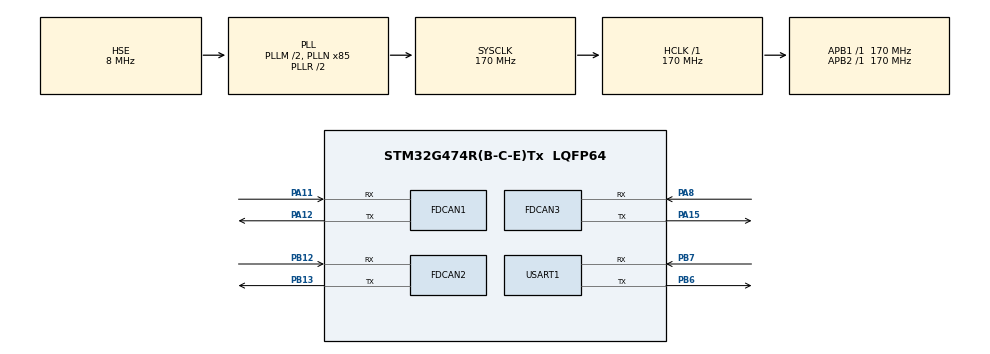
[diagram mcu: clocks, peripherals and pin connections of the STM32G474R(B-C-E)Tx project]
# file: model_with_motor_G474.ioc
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Dma.Request0=USART1_RX
Dma.USART1_RX.0.Direction=DMA_PERIPH_TO_MEMORY
Dma.USART1_RX.0.EventEnable=DISABLE
Dma.USART1_RX.0.Instance=DMA1_Channel1
Dma.USART1_RX.0.MemDataAlignment=DMA_MDATAALIGN_BYTE
Dma.USART1_RX.0.MemInc=DMA_MINC_ENABLE
Dma.USART1_RX.0.Mode=DMA_NORMAL
Dma.USART1_RX.0.PeriphDataAlignment=DMA_PDATAALIGN_BYTE
Dma.USART1_RX.0.PeriphInc=DMA_PINC_DISABLE
Dma.USART1_RX.0.Polarity=HAL_DMAMUX_REQ_GEN_RISING
Dma.USART1_RX.0.Priority=DMA_PRIORITY_LOW
Dma.USART1_RX.0.RequestNumber=1
Dma.USART1_RX.0.SignalID=NONE
Dma.USART1_RX.0.SyncEnable=DISABLE
Dma.USART1_RX.0.SyncPolarity=HAL_DMAMUX_SYNC_NO_EVENT
Dma.USART1_RX.0.SyncRequestNumber=1
Dma.USART1_RX.0.SyncSignalID=NONE
FDCAN1.CalculateBaudRateNominal=1000000
FDCAN1.CalculateTimeBitNominal=1000
FDCAN1.CalculateTimeQuantumNominal=100.0
FDCAN1.DataPrescaler=17
FDCAN1.DataTimeSeg1=7
FDCAN1.DataTimeSeg2=2
FDCAN1.ExtFiltersNbr=1
FDCAN1.NominalPrescaler=17
FDCAN1.NominalTimeSeg1=7
FDCAN1.NominalTimeSeg2=2
FDCAN1.StdFiltersNbr=1
FDCAN2.CalculateBaudRateNominal=1000000
FDCAN2.CalculateTimeBitNominal=1000
FDCAN2.CalculateTimeQuantumNominal=100.0
FDCAN2.DataPrescaler=17
FDCAN2.DataTimeSeg1=7
FDCAN2.DataTimeSeg2=2
FDCAN2.ExtFiltersNbr=1
FDCAN2.Mode=FDCAN_MODE_NORMAL
FDCAN2.NominalPrescaler=17
FDCAN2.NominalTimeSeg1=7
FDCAN2.NominalTimeSeg2=2
FDCAN2.StdFiltersNbr=1
FDCAN3.CalculateBaudRateNominal=1000000
FDCAN3.CalculateTimeBitNominal=1000
FDCAN3.CalculateTimeQuantumNominal=100.0
FDCAN3.DataPrescaler=17
FDCAN3.DataTimeSeg1=7
FDCAN3.DataTimeSeg2=2
FDCAN3.ExtFiltersNbr=1
FDCAN3.NominalPrescaler=17
FDCAN3.NominalTimeSeg1=7
FDCAN3.NominalTimeSeg2=2
FDCAN3.StdFiltersNbr=1
Mcu.Family=STM32G4
Mcu.Name=STM32G474R(B-C-E)Tx
Mcu.Package=LQFP64
NVIC.DMA1_Channel1_IRQn=true\:0\:0\:false\:false\:true\:false\:true\:true
NVIC.FDCAN1_IT0_IRQn=true\:0\:0\:false\:false\:true\:true\:true\:true
NVIC.FDCAN1_IT1_IRQn=true\:0\:0\:false\:false\:true\:true\:true\:true
NVIC.FDCAN2_IT0_IRQn=true\:0\:0\:false\:false\:true\:true\:true\:true
NVIC.FDCAN2_IT1_IRQn=true\:0\:0\:false\:false\:true\:true\:true\:true
NVIC.PriorityGroup=NVIC_PRIORITYGROUP_4
NVIC.USART1_IRQn=true\:0\:0\:false\:false\:true\:true\:true\:true
PA11.Mode=FDCAN_Activate
PA11.Signal=FDCAN1_RX
PA12.Mode=FDCAN_Activate
PA12.Signal=FDCAN1_TX
PA13.Mode=Serial_Wire
PA13.Signal=SYS_JTMS-SWDIO
PA14.Mode=Serial_Wire
PA14.Signal=SYS_JTCK-SWCLK
PA15.Mode=FDCAN_Activate
PA15.Signal=FDCAN3_TX
PA8.Mode=FDCAN_Activate
PA8.Signal=FDCAN3_RX
PB12.Mode=FDCAN_Activate
PB12.Signal=FDCAN2_RX
PB13.Mode=FDCAN_Activate
PB13.Signal=FDCAN2_TX
PB6.Mode=Asynchronous
PB6.Signal=USART1_TX
PB7.Mode=Asynchronous
PB7.Signal=USART1_RX
PC14-OSC32_IN.Mode=LSE-External-Oscillator
PC14-OSC32_IN.Signal=RCC_OSC32_IN
PC15-OSC32_OUT.Mode=LSE-External-Oscillator
PC15-OSC32_OUT.Signal=RCC_OSC32_OUT
PF0-OSC_IN.Mode=HSE-External-Oscillator
PF0-OSC_IN.Signal=RCC_OSC_IN
PF1-OSC_OUT.Mode=HSE-External-Oscillator
PF1-OSC_OUT.Signal=RCC_OSC_OUT
ProjectManager.HeapSize=0x200
ProjectManager.StackSize=0x400
ProjectManager.TargetToolchain=MDK-ARM V5.32
RCC.ADC12Freq_Value=170000000
RCC.ADC345Freq_Value=170000000
RCC.AHBFreq_Value=170000000
RCC.APB1Freq_Value=170000000
RCC.APB1TimFreq_Value=170000000
RCC.APB2Freq_Value=170000000
RCC.APB2TimFreq_Value=170000000
RCC.CortexFreq_Value=170000000
RCC.EXTERNAL_CLOCK_VALUE=12288000
RCC.HCLKFreq_Value=170000000
RCC.HSE_VALUE=8000000
RCC.HSI48_VALUE=48000000
RCC.HSI_VALUE=16000000
RCC.PLLM=RCC_PLLM_DIV2
RCC.PLLN=85
RCC.PLLSourceVirtual=RCC_PLLSOURCE_HSE
RCC.SYSCLKFreq_VALUE=170000000
RCC.SYSCLKSource=RCC_SYSCLKSOURCE_PLLCLK
RCC.USBFreq_Value=170000000
RCC.VCOOutputFreq_Value=340000000
USART1.VirtualMode-Asynchronous=VM_ASYNC
VP_SYS_VS_DBSignals.Mode=DisableDeadBatterySignals
board=custom

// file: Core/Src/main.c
/* USER CODE BEGIN Header */
/**
  ******************************************************************************
  * @file           : main.c
  * @brief          : Main program body
  ******************************************************************************
  * @attention
  *
  * Copyright (c) 2025 STMicroelectronics.
  * All rights reserved.
  *
  * This software is licensed under terms that can be found in the LICENSE file
  * in the root directory of this software component.
  * If no LICENSE file comes with this software, it is provided AS-IS.
  *
  ******************************************************************************
  */
/* USER CODE END Header */
#include "main.h"
#include "dma.h"
#include "fdcan.h"
#include "usart.h"
#include "gpio.h"

/* USER CODE BEGIN Includes */
#include "fdcan_bsp.h"
#include "dji_motor.h"
#include "cybergear_motor.h"
/* USER CODE END Includes */

void SystemClock_Config(void);

int main(void)
{

  /* MCU Configuration--------------------------------------------------------*/

  /* Reset of all peripherals, Initializes the Flash interface and the Systick. */
  HAL_Init();

  /* Configure the system clock */
  SystemClock_Config();

  /* Initialize all configured peripherals */
  MX_GPIO_Init();
  MX_DMA_Init();
  MX_USART1_UART_Init();
  MX_FDCAN1_Init();
  MX_FDCAN2_Init();
  MX_FDCAN3_Init();
  /* USER CODE BEGIN 2 */

	// 1. 初始化 FDCAN 分发器
	fdcan_bsp_init();

	// 2. 初始化电机
  dji_motors_init();
	cybergear_motors_init();

	// 3. 启动 FDCAN 外设
  fdcan_bsp_start(&hfdcan1);
	fdcan_bsp_start(&hfdcan2);

	static CyberGear_Motor_Instance *mi_motor = NULL;
	static DJI_Motor_Instance *dji_motor = NULL;
	mi_motor = cybergear_motor_get_instance(0);
  dji_motor = dji_motor_get_instance(4);

	cybergear_motor_stop(mi_motor);
	HAL_Delay(50);
	cybergear_motor_set_mode(mi_motor, MOTOR_CONTROL_MODE_POSITION);
	HAL_Delay(50);
	//cybergear_motor_set_current_limit(mi_motor, 15.0f);
	HAL_Delay(50);
	cybergear_motor_enable(mi_motor);
	HAL_Delay(50);
	//cybergear_motor_set_zero_position(mi_motor);
	HAL_Delay(50);
  //cybergear_motor_set_speed(mi_motor, 6.28);
	HAL_Delay(50);
	HAL_Delay(5000);
  /* USER CODE END 2 */

  /* Infinite loop */
  while (1)
  {

    /* USER CODE BEGIN 3 */

//    cybergear_motor_set_position(mi_motor, cybergear_motor_degree2rad(180), 3.14);
//		HAL_Delay(100);

		dji_motor_set_location(dji_motor_get_instance(0), dji_degree2encoder(90.0f * 36.0f));

		printf("current pos: %.2f\r\n", mi_motor->measure.angle / 2 / M_PI * 360.0f);
		printf("current speed: %.2f rad/s\r\n", mi_motor->measure.speed);
		printf("total rotation: %d\r\n", mi_motor->measure.rotation);
		printf("=================================\r\n");

  }
  /* USER CODE END 3 */
}

void SystemClock_Config(void)
{
  RCC_OscInitTypeDef RCC_OscInitStruct = {0};
  RCC_ClkInitTypeDef RCC_ClkInitStruct = {0};

  /** Configure the main internal regulator output voltage
  */
  HAL_PWREx_ControlVoltageScaling(PWR_REGULATOR_VOLTAGE_SCALE1_BOOST);

  /** Initializes the RCC Oscillators according to the specified parameters
  * in the RCC_OscInitTypeDef structure.
  */
  RCC_OscInitStruct.OscillatorType = RCC_OSCILLATORTYPE_HSE;
  RCC_OscInitStruct.HSEState = RCC_HSE_ON;
  RCC_OscInitStruct.PLL.PLLState = RCC_PLL_ON;
  RCC_OscInitStruct.PLL.PLLSource = RCC_PLLSOURCE_HSE;
  RCC_OscInitStruct.PLL.PLLM = RCC_PLLM_DIV2;
  RCC_OscInitStruct.PLL.PLLN = 85;
  RCC_OscInitStruct.PLL.PLLP = RCC_PLLP_DIV2;
  RCC_OscInitStruct.PLL.PLLQ = RCC_PLLQ_DIV2;
  RCC_OscInitStruct.PLL.PLLR = RCC_PLLR_DIV2;
  if (HAL_RCC_OscConfig(&RCC_OscInitStruct) != HAL_OK)
  {
    Error_Handler();
  }

  /** Initializes the CPU, AHB and APB buses clocks
  */
  RCC_ClkInitStruct.ClockType = RCC_CLOCKTYPE_HCLK|RCC_CLOCKTYPE_SYSCLK
                              |RCC_CLOCKTYPE_PCLK1|RCC_CLOCKTYPE_PCLK2;
  RCC_ClkInitStruct.SYSCLKSource = RCC_SYSCLKSOURCE_PLLCLK;
  RCC_ClkInitStruct.AHBCLKDivider = RCC_SYSCLK_DIV1;
  RCC_ClkInitStruct.APB1CLKDivider = RCC_HCLK_DIV1;
  RCC_ClkInitStruct.APB2CLKDivider = RCC_HCLK_DIV1;

  if (HAL_RCC_ClockConfig(&RCC_ClkInitStruct, FLASH_LATENCY_4) != HAL_OK)
  {
    Error_Handler();
  }
}

void Error_Handler(void)
{
  __disable_irq();
  while (1)
  {
  }
}
